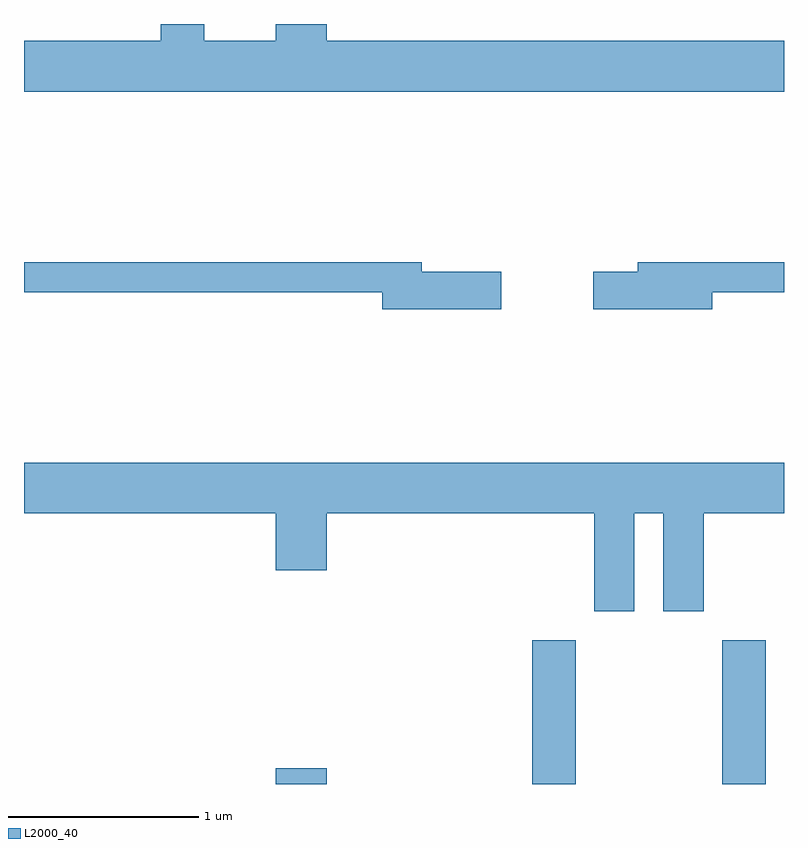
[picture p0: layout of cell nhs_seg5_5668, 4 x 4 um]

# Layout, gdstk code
import gdstk
lib = gdstk.Library(unit=1e-6, precision=1e-09)
def R(c, l, rs):  # rectangles x0, y0, x1, y1
    for r in rs: c.add(gdstk.rectangle(r[:2], r[2:], *l))
def P(c, l, *ps):  # polygons
    for p in ps: c.add(gdstk.Polygon(p, *l))
L2000_40 = (2000, 40)

nhs_seg5_5668 = lib.new_cell('nhs_seg5_5668')
R(nhs_seg5_5668, L2000_40, [(354.936,1422.072,355.204,1422.154), (356.286,1422.072,356.514,1422.829), (357.286,1422.072,357.514,1422.829)])
P(nhs_seg5_5668, L2000_40, [(357.611,1425.984),(355.204,1425.984),(355.204,1426.072),(354.936,1426.072),(354.936,1425.984),(354.559,1425.984),(354.559,1426.072),(354.331,1426.072),(354.331,1425.984),(353.611,1425.984),(353.611,1425.716),(357.611,1425.716)],
  [(357.234,1424.661),(357.611,1424.661),(357.611,1424.819),(356.841,1424.819),(356.841,1424.769),(356.606,1424.769),(356.606,1424.571),(357.234,1424.571)],
  [(356.124,1424.769),(355.704,1424.769),(355.704,1424.819),(353.611,1424.819),(353.611,1424.661),(355.496,1424.661),(355.496,1424.571),(356.124,1424.571)],
  [(356.824,1423.496),(356.976,1423.496),(356.976,1422.981),(357.189,1422.981),(357.189,1423.496),(357.611,1423.496),(357.611,1423.764),(353.611,1423.764),(353.611,1423.496),(354.936,1423.496),(354.936,1423.196),(355.204,1423.196),(355.204,1423.496),(356.611,1423.496),(356.611,1422.981),(356.824,1422.981)])

lib.write_gds('nhs_seg5_5668.gds')
